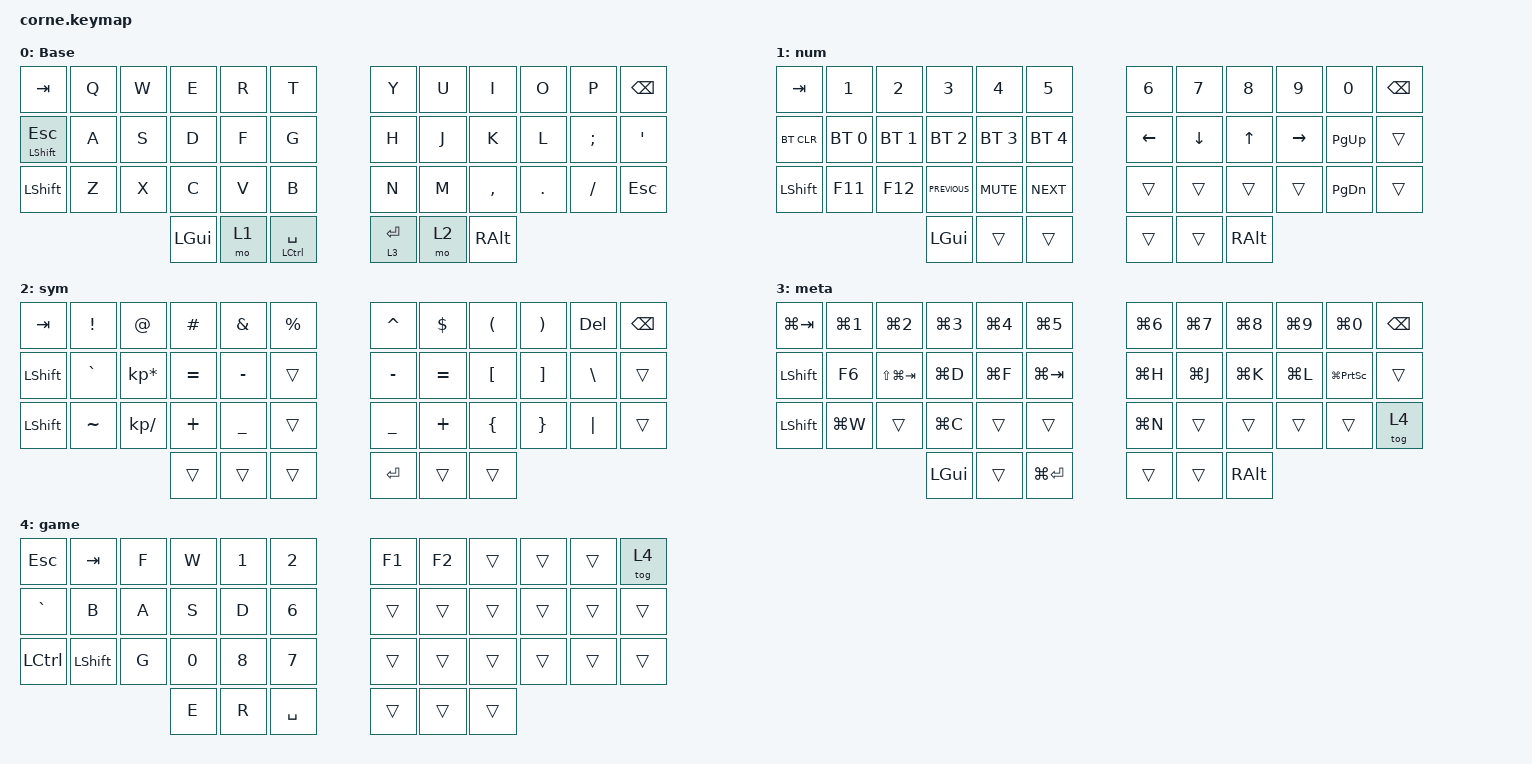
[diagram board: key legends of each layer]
/*
 * Copyright (c) 2020 The ZMK Contributors
 *
 * SPDX-License-Identifier: MIT
 */

#include <behaviors.dtsi>
#include <dt-bindings/zmk/bt.h>
#include <dt-bindings/zmk/keys.h>

/ {
    keymap {
        compatible = "zmk,keymap";

        Base {
            display-name = "Base";
            bindings = <
&kp TAB            &kp Q  &kp W  &kp E     &kp R  &kp T              &kp Y      &kp U  &kp I      &kp O    &kp P     &kp BSPC
&mt LSHIFT ESCAPE  &kp A  &kp S  &kp D     &kp F  &kp G              &kp H      &kp J  &kp K      &kp L    &kp SEMI  &kp SQT
&kp LSHFT          &kp Z  &kp X  &kp C     &kp V  &kp B              &kp N      &kp M  &kp COMMA  &kp DOT  &kp FSLH  &kp ESC
                                 &kp LGUI  &mo 1  &mt LCTRL SPACE    &lt 3 RET  &mo 2  &kp RALT
            >;
        };

        Numeric {
            display-name = "num";
            bindings = <
&kp TAB     &kp N1        &kp N2        &kp N3          &kp N4        &kp N5          &kp N6    &kp N7    &kp N8    &kp N9     &kp N0         &kp BACKSPACE
&bt BT_CLR  &bt BT_SEL 0  &bt BT_SEL 1  &bt BT_SEL 2    &bt BT_SEL 3  &bt BT_SEL 4    &kp LEFT  &kp DOWN  &kp UP    &kp RIGHT  &kp PAGE_UP    &trans
&kp LSHFT   &kp F11       &kp F12       &kp C_PREVIOUS  &kp C_MUTE    &kp C_NEXT      &trans    &trans    &trans    &trans     &kp PAGE_DOWN  &trans
                                        &kp LGUI        &trans        &trans          &trans    &trans    &kp RALT
            >;
        };

        Symbols {
            display-name = "sym";
            bindings = <
&kp TAB         &kp EXCL   &kp AT           &kp HASH   &kp AMPS        &kp PRCNT    &kp CARET  &kp DOLLAR  &kp LEFT_PARENTHESIS  &kp RIGHT_PARENTHESIS  &kp DELETE  &kp BSPC
&kp LEFT_SHIFT  &kp GRAVE  &kp KP_MULTIPLY  &kp EQUAL  &kp MINUS       &trans       &kp MINUS  &kp EQUAL   &kp LBKT              &kp RBKT               &kp BSLH    &trans
&kp LSHFT       &kp TILDE  &kp KP_DIVIDE    &kp PLUS   &kp UNDERSCORE  &trans       &kp UNDER  &kp PLUS    &kp LBRC              &kp RBRC               &kp PIPE    &trans
                                            &trans     &trans          &trans       &kp RET    &trans      &trans
            >;
        };

        Meta {
            display-name = "meta";
            bindings = <
&kp LG(TAB)     &kp LG(N1)  &kp LG(N2)       &kp LG(N3)  &kp LG(N4)  &kp LG(N5)       &kp LG(N6)  &kp LG(N7)  &kp LG(N8)  &kp LG(N9)  &kp LG(N0)           &kp BSPC
&kp LEFT_SHIFT  &kp F6      &kp LS(LG(TAB))  &kp LG(D)   &kp LG(F)   &kp LG(TAB)      &kp LG(H)   &kp LG(J)   &kp LG(K)   &kp LG(L)   &kp LG(PRINTSCREEN)  &trans
&kp LSHFT       &kp LG(W)   &trans           &kp LG(C)   &trans      &trans           &kp LG(N)   &trans      &trans      &trans      &trans               &tog 4
                                             &kp LGUI    &trans      &kp LG(ENTER)    &trans      &trans      &kp RALT
            >;
        };

        game {
            bindings = <
&kp ESC    &kp TAB    &kp F  &kp W   &kp N1  &kp N2       &kp F1  &kp F2  &trans  &trans  &trans  &tog 4
&kp GRAVE  &kp B      &kp A  &kp S   &kp D   &kp N6       &trans  &trans  &trans  &trans  &trans  &trans
&kp LCTRL  &kp LSHFT  &kp G  &kp N0  &kp N8  &kp N7       &trans  &trans  &trans  &trans  &trans  &trans
                             &kp E   &kp R   &kp SPACE    &trans  &trans  &trans
            >;
        };
    };
};
